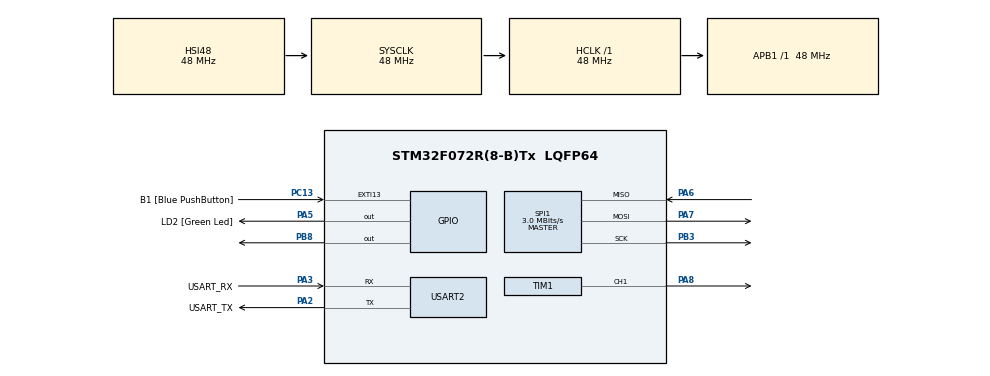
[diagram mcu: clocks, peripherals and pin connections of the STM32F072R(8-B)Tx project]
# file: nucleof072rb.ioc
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Mcu.Family=STM32F0
Mcu.Name=STM32F072R(8-B)Tx
Mcu.Package=LQFP64
PA13.GPIO_Label=TMS
PA13.Mode=Serial_Wire
PA13.Signal=SYS_SWDIO
PA14.GPIO_Label=TCK
PA14.Mode=Serial_Wire
PA14.Signal=SYS_SWCLK
PA2.GPIO_Label=USART_TX
PA2.GPIO_Mode=GPIO_MODE_AF_PP
PA2.GPIO_PuPd=GPIO_NOPULL
PA2.GPIO_Speed=GPIO_SPEED_FREQ_LOW
PA2.Mode=Asynchronous
PA2.Signal=USART2_TX
PA3.GPIO_Label=USART_RX
PA3.GPIO_Mode=GPIO_MODE_AF_PP
PA3.GPIO_PuPd=GPIO_NOPULL
PA3.GPIO_Speed=GPIO_SPEED_FREQ_LOW
PA3.Mode=Asynchronous
PA3.Signal=USART2_RX
PA5.GPIO_Label=LD2 [Green Led]
PA5.GPIO_Mode=GPIO_MODE_OUTPUT_PP
PA5.GPIO_PuPd=GPIO_NOPULL
PA5.GPIO_Speed=GPIO_SPEED_FREQ_LOW
PA5.Signal=GPIO_Output
PA6.Mode=Full_Duplex_Master
PA6.Signal=SPI1_MISO
PA7.Mode=Full_Duplex_Master
PA7.Signal=SPI1_MOSI
PA8.Signal=S_TIM1_CH1
PB3.Mode=Full_Duplex_Master
PB3.Signal=SPI1_SCK
PB8.Signal=GPIO_Output
PC13.GPIO_Label=B1 [Blue PushButton]
PC13.GPIO_ModeDefaultEXTI=GPIO_MODE_IT_FALLING
PC13.Signal=GPXTI13
PC14-OSC32_IN.Mode=LSE-External-Oscillator
PC14-OSC32_IN.Signal=RCC_OSC32_IN
PC15-OSC32_OUT.Mode=LSE-External-Oscillator
PC15-OSC32_OUT.Signal=RCC_OSC32_OUT
PF0-OSC_IN.Mode=HSE-External-Clock-Source
PF0-OSC_IN.Signal=RCC_OSC_IN
PF1-OSC_OUT.Signal=RCC_OSC_OUT
ProjectManager.HeapSize=0x200
ProjectManager.StackSize=0x400
ProjectManager.TargetToolchain=STM32CubeIDE
RCC.AHBFreq_Value=48000000
RCC.APB1Freq_Value=48000000
RCC.APB1TimFreq_Value=48000000
RCC.FLatency-AdvancedSettings=FLASH_LATENCY_1
RCC.HCLKFreq_Value=48000000
RCC.PLLDivider=RCC_PREDIV_DIV2
RCC.PLLMUL=RCC_PLL_MUL12
RCC.PREFETCH_ENABLE-AdvancedSettings=1
RCC.SYSCLKFreq_VALUE=48000000
RCC.SYSCLKSource=RCC_SYSCLKSOURCE_HSI48
SH.S_TIM1_CH1.0=TIM1_CH1,PWM Generation1 CH1
SPI1.BaudRatePrescaler=SPI_BAUDRATEPRESCALER_16
SPI1.CalculateBaudRate=3.0 MBits/s
SPI1.DataSize=SPI_DATASIZE_8BIT
SPI1.Direction=SPI_DIRECTION_2LINES
SPI1.Mode=SPI_MODE_MASTER
SPI1.VirtualType=VM_MASTER
TIM1.Channel-PWM\ Generation1\ CH1=TIM_CHANNEL_1
TIM1.Period=64000
TIM1.Prescaler=14
USART2.VirtualMode=VM_ASYNC
USART2.VirtualMode-Asynchronous=VM_ASYNC
VP_TIM1_VS_ClockSourceINT.Mode=Internal
board=NUCLEO-F072RB

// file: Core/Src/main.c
/* USER CODE BEGIN Header */
/**
  ******************************************************************************
  * @file           : main.c
  * @brief          : Main program body
  ******************************************************************************
  * @attention
  *
  * <h2><center>&copy; Copyright (c) 2021 STMicroelectronics.
  * All rights reserved.</center></h2>
  *
  * This software component is licensed by ST under BSD 3-Clause license,
  * the "License"; You may not use this file except in compliance with the
  * License. You may obtain a copy of the License at:
  *                        opensource.org/licenses/BSD-3-Clause
  *
  ******************************************************************************
  */
/* USER CODE END Header */
#include "main.h"
#include "spi.h"
#include "tim.h"
#include "usart.h"
#include "gpio.h"

void SystemClock_Config(void);

int main(void)
{

  /* MCU Configuration--------------------------------------------------------*/

  /* Reset of all peripherals, Initializes the Flash interface and the Systick. */
  HAL_Init();

  /* Configure the system clock */
  SystemClock_Config();

  /* Initialize all configured peripherals */
  MX_GPIO_Init();
  MX_USART2_UART_Init();
  MX_SPI1_Init();
  MX_TIM1_Init();
  /* USER CODE BEGIN 2 */
  uint8_t txBuffer[3]; // Transmitted Data - 3 bytes
  // hexadecimal
  // using mcp3004
  txBuffer[0] = 0x01; // has to be 0000 0001
  txBuffer[1] = 0x80; // single ended channel 0 ADC as per diagram 1000 0000
  txBuffer[2] = 0x00; // Irrelevant

  uint8_t rxBuffer[3]; // Received Data - 3 bytes
  uint16_t adc_value; // 10 bits

  HAL_GPIO_WritePin(GPIOB, GPIO_PIN_8, GPIO_PIN_SET); // stop all communication
  __HAL_TIM_SET_COMPARE(&htim1, TIM_CHANNEL_1, __HAL_TIM_GET_AUTORELOAD(&htim1) * 0.05); // initialize pwm duty cycle to 5%
  HAL_TIM_PWM_Start(&htim1, TIM_CHANNEL_1); // start timer
  /* USER CODE END 2 */

  /* Infinite loop */
  while (1)
  {

    /* USER CODE BEGIN 3 */

	  // read adc which converts potentiometer V to digital.
	  //  If the device was powered up with the CS pin low, it must be
	  //  brought high and back low to initiate communication.
	  HAL_GPIO_WritePin(GPIOB, GPIO_PIN_8, GPIO_PIN_RESET); // CS LOW PB8 - start communication
	  HAL_SPI_TransmitReceive(&hspi1, txBuffer, rxBuffer, 3, HAL_MAX_DELAY); // Receive+transmit data
	  HAL_GPIO_WritePin(GPIOB, GPIO_PIN_8, GPIO_PIN_SET); // CS HIGH PB8 - stop communication
	  adc_value = ((rxBuffer[1] & 0x03) << 8) | rxBuffer[2]; // rxBuffer[1] _ _ _ _ _ 0 B9 B8, rxBuffer[2] B7 B6 B5 B4 B3 B2 B1 B0
	  // adc value from 0 to 1023
	  // pwm duty cycle between 5-10% based on adc_value
	  // set compare register
	  // gets counter tick value (i think i set to 64000) for cycle and then multiply by num in range [0.05, 0.10].
	  __HAL_TIM_SET_COMPARE(&htim1, TIM_CHANNEL_1, __HAL_TIM_GET_AUTORELOAD(&htim1) * (0.05 * (1 + ((adc_value/1023.0)))));
	  HAL_Delay(10);

  }
  /* USER CODE END 3 */
}

void SystemClock_Config(void)
{
  RCC_OscInitTypeDef RCC_OscInitStruct = {0};
  RCC_ClkInitTypeDef RCC_ClkInitStruct = {0};
  RCC_PeriphCLKInitTypeDef PeriphClkInit = {0};

  /** Initializes the RCC Oscillators according to the specified parameters
  * in the RCC_OscInitTypeDef structure.
  */
  RCC_OscInitStruct.OscillatorType = RCC_OSCILLATORTYPE_HSI48;
  RCC_OscInitStruct.HSI48State = RCC_HSI48_ON;
  RCC_OscInitStruct.PLL.PLLState = RCC_PLL_NONE;
  if (HAL_RCC_OscConfig(&RCC_OscInitStruct) != HAL_OK)
  {
    Error_Handler();
  }
  /** Initializes the CPU, AHB and APB buses clocks
  */
  RCC_ClkInitStruct.ClockType = RCC_CLOCKTYPE_HCLK|RCC_CLOCKTYPE_SYSCLK
                              |RCC_CLOCKTYPE_PCLK1;
  RCC_ClkInitStruct.SYSCLKSource = RCC_SYSCLKSOURCE_HSI48;
  RCC_ClkInitStruct.AHBCLKDivider = RCC_SYSCLK_DIV1;
  RCC_ClkInitStruct.APB1CLKDivider = RCC_HCLK_DIV1;

  if (HAL_RCC_ClockConfig(&RCC_ClkInitStruct, FLASH_LATENCY_1) != HAL_OK)
  {
    Error_Handler();
  }
  PeriphClkInit.PeriphClockSelection = RCC_PERIPHCLK_USART2;
  PeriphClkInit.Usart2ClockSelection = RCC_USART2CLKSOURCE_PCLK1;
  if (HAL_RCCEx_PeriphCLKConfig(&PeriphClkInit) != HAL_OK)
  {
    Error_Handler();
  }
}

void Error_Handler(void)
{
  __disable_irq();
  while (1)
  {
  }
}

/************************ (C) COPYRIGHT STMicroelectronics *****END OF FILE****/
